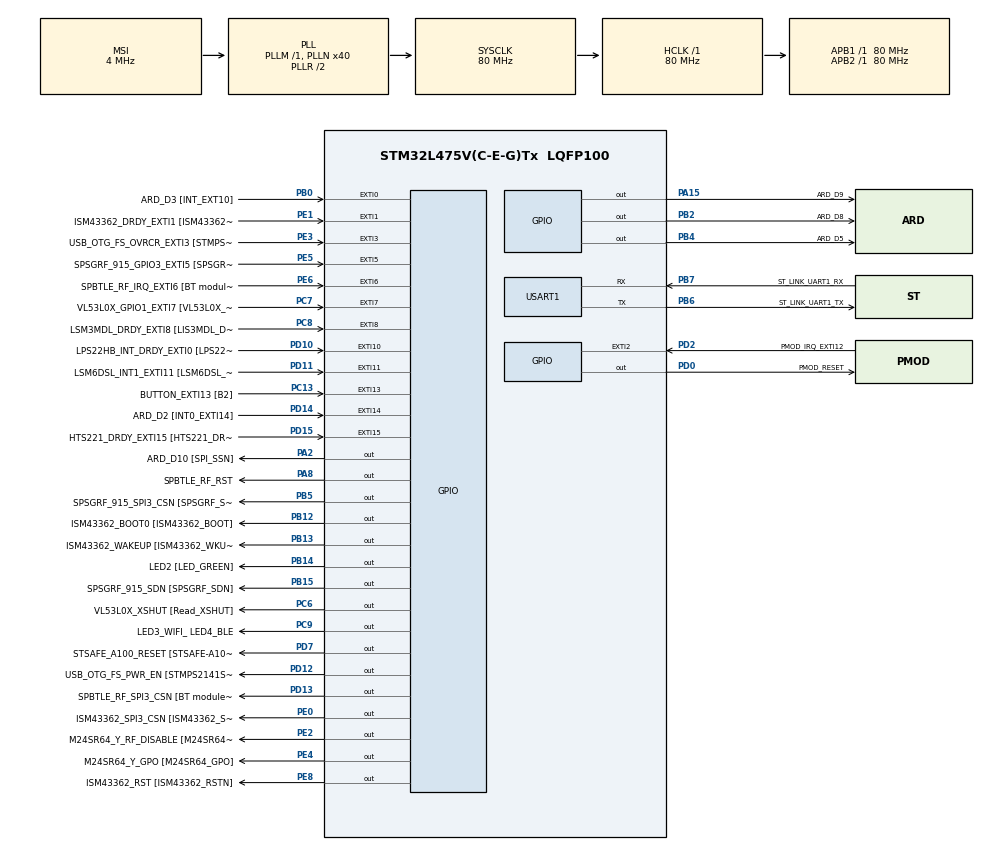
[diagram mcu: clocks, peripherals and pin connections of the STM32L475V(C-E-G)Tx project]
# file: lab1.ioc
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FREERTOS.Tasks01=Thread1,0,128,Thread1Func,Default,NULL,Dynamic,NULL,NULL;Thread2,0,128,Thread2Func,Default,NULL,Dynamic,NULL,NULL
Mcu.Family=STM32L4
Mcu.Name=STM32L475V(C-E-G)Tx
Mcu.Package=LQFP100
Mcu.UserConstants=mainDELAY_LOOP_COUNT,0xffffff
NVIC.EXTI15_10_IRQn=true\:5\:0\:false\:false\:true\:true\:true\:true
NVIC.EXTI9_5_IRQn=true\:5\:0\:false\:false\:true\:true\:true\:true
NVIC.PriorityGroup=NVIC_PRIORITYGROUP_4
PA0.GPIO_Label=ARD_D1 [UART4_TX]
PA0.Signal=UART4_TX
PA1.GPIO_Label=ARD_D0 [UART4_RX]
PA1.Signal=UART4_RX
PA10.GPIO_Label=USB_OTG_FS_ID
PA10.Signal=USB_OTG_FS_ID
PA11.GPIO_Label=USB_OTG_FS_DM
PA11.Signal=USB_OTG_FS_DM
PA12.GPIO_Label=USB_OTG_FS_DP
PA12.Signal=USB_OTG_FS_DP
PA13\ (JTMS-SWDIO).GPIO_Label=SYS_JTMS_SWDIO
PA13\ (JTMS-SWDIO).Mode=Serial_Wire
PA13\ (JTMS-SWDIO).Signal=SYS_JTMS-SWDIO
PA14\ (JTCK-SWCLK).GPIO_Label=SYS_JTCK_SWCLK
PA14\ (JTCK-SWCLK).Mode=Serial_Wire
PA14\ (JTCK-SWCLK).Signal=SYS_JTCK-SWCLK
PA15\ (JTDI).GPIO_Label=ARD_D9
PA15\ (JTDI).Signal=GPIO_Output
PA2.GPIO_Label=ARD_D10 [SPI_SSN]
PA2.Signal=GPIO_Output
PA3.GPIO_Label=ARD_D4
PA3.Signal=S_TIM2_CH4
PA4.GPIO_Label=ARD_D7
PA4.Signal=ADCx_IN9
PA5.GPIO_Label=ARD_D13 [SPI1_SCK]
PA5.Signal=SPI1_SCK
PA6.GPIO_Label=ARD_D12 [SPI1_MISO]
PA6.Signal=SPI1_MISO
PA7.GPIO_Label=ARD_D11 [SPI1_MOSI]
PA7.Signal=SPI1_MOSI
PA8.GPIO_Label=SPBTLE_RF_RST
PA8.Signal=GPIO_Output
PA9.GPIO_Label=USB_OTG_FS_VBUS [STMPS2141STR_OUT]
PA9.Signal=USB_OTG_FS_VBUS
PB0.GPIO_Label=ARD_D3 [INT_EXT10]
PB0.Signal=GPXTI0
PB1.GPIO_Label=ARD_D6 [ADC1_IN6]
PB1.Signal=ADCx_IN16
PB10.GPIO_Label=INTERNAL_I2C2_SCL [VL53L0X_SCL]
PB10.Signal=I2C2_SCL
PB11.GPIO_Label=INTERNAL_I2C2_SDA [VL53L0X_SDA]
PB11.Signal=I2C2_SDA
PB12.GPIO_Label=ISM43362_BOOT0 [ISM43362_BOOT]
PB12.Signal=GPIO_Output
PB13.GPIO_Label=ISM43362_WAKEUP [ISM43362_WKUP]
PB13.Signal=GPIO_Output
PB14.GPIO_Label=LED2 [LED_GREEN]
PB14.Signal=GPIO_Output
PB15.GPIO_Label=SPSGRF_915_SDN [SPSGRF_SDN]
PB15.Signal=GPIO_Output
PB2.GPIO_Label=ARD_D8
PB2.Signal=GPIO_Output
PB3\ (JTDO-TRACESWO).GPIO_Label=SYS_JTD0_SWO
PB3\ (JTDO-TRACESWO).Signal=SYS_JTDO-SWO
PB4\ (NJTRST).GPIO_Label=ARD_D5
PB4\ (NJTRST).Signal=GPIO_Output
PB5.GPIO_Label=SPSGRF_915_SPI3_CSN [SPSGRF_SPI_CS]
PB5.PinState=GPIO_PIN_SET
PB5.Signal=GPIO_Output
PB6.GPIO_Label=ST_LINK_UART1_TX
PB6.Mode=Asynchronous
PB6.Signal=USART1_TX
PB7.GPIO_Label=ST_LINK_UART1_RX
PB7.Mode=Asynchronous
PB7.Signal=USART1_RX
PB8.GPIO_Label=ARD_D15 [I2C1_SCL]
PB8.Signal=I2C1_SCL
PB9.GPIO_Label=ARD_D14 [I2C1_SDA]
PB9.Signal=I2C1_SDA
PC0.GPIO_Label=ARD_A5 [ADC]
PC0.Signal=ADCx_IN1
PC1.GPIO_Label=ARD_A4 [ADC]
PC1.Signal=ADCx_IN2
PC10.GPIO_Label=INTERNAL_SPI3_SCK [BT module_SPI_SCLK] [ISM43362_SCK]
PC10.Signal=SPI3_SCK
PC11.GPIO_Label=INTERNAL_SPI3_MISO [BT module_SPI_MISO] [ISM43362_MISO]
PC11.Signal=SPI3_MISO
PC12.GPIO_Label=INTERNAL_SPI3_MOSI [BT module_SPI_MOSI] [ISM43362_MOSI]
PC12.Signal=SPI3_MOSI
PC13.GPIO_Label=BUTTON_EXTI13 [B2]
PC13.GPIO_ModeDefaultEXTI=GPIO_MODE_IT_FALLING
PC13.Signal=GPXTI13
PC14-OSC32_IN\ (PC14).Signal=RCC_OSC32_IN
PC15-OSC32_OUT\ (PC15).Signal=RCC_OSC32_OUT
PC2.GPIO_Label=ARD_A3 [ADC]
PC2.Signal=ADCx_IN3
PC3.GPIO_Label=ARD_A2 [ADC]
PC3.Signal=ADCx_IN4
PC4.GPIO_Label=ARD_A1 [ADC]
PC4.Signal=ADCx_IN13
PC5.GPIO_Label=ARD_A0 [ADC]
PC5.Signal=ADCx_IN14
PC6.GPIO_Label=VL53L0X_XSHUT [Read_XSHUT]
PC6.Signal=GPIO_Output
PC7.GPIO_Label=VL53L0X_GPIO1_EXTI7 [VL53L0X_GPIO1]
PC7.Signal=GPXTI7
PC8.GPIO_Label=LSM3MDL_DRDY_EXTI8 [LIS3MDL_DRDY]
PC8.Signal=GPXTI8
PC9.GPIO_Label=LED3_WIFI_ LED4_BLE
PC9.Signal=GPIO_Output
PD0.GPIO_Label=PMOD_RESET
PD0.Signal=GPIO_Output
PD1.GPIO_Label=PMOD_SPI2_SCK
PD1.Signal=SPI2_SCK
PD10.GPIO_Label=LPS22HB_INT_DRDY_EXTI0 [LPS22HB_INT_DRDY] 
PD10.Signal=GPXTI10
PD11.GPIO_Label=LSM6DSL_INT1_EXTI11 [LSM6DSL_INT1]
PD11.Signal=GPXTI11
PD12.GPIO_Label=USB_OTG_FS_PWR_EN [STMPS2141STR_EN]
PD12.Signal=GPIO_Output
PD13.GPIO_Label=SPBTLE_RF_SPI3_CSN [BT module_SPI_CS]
PD13.PinState=GPIO_PIN_SET
PD13.Signal=GPIO_Output
PD14.GPIO_Label=ARD_D2 [INT0_EXTI14]
PD14.Signal=GPXTI14
PD15.GPIO_Label=HTS221_DRDY_EXTI15 [HTS221_DRDY]
PD15.Signal=GPXTI15
PD2.GPIO_Label=PMOD_IRQ_EXTI12
PD2.Signal=GPXTI2
PD3.GPIO_Label=PMOD_UART2_CTS
PD3.Signal=USART2_CTS
PD4.GPIO_Label=PMOD_UART2_RTS
PD4.Signal=USART2_RTS
PD5.GPIO_Label=PMOD_UART2_TX
PD5.Signal=USART2_TX
PD6.GPIO_Label=PMOD_UART2_RX
PD6.Signal=USART2_RX
PD7.GPIO_Label=STSAFE_A100_RESET [STSAFE-A100_RESET]
PD7.Signal=GPIO_Output
PD8.GPIO_Label=INTERNAL_UART3_TX [ISM43362_RX]
PD8.Signal=USART3_TX
PD9.GPIO_Label=INTERNAL_UART3_RX [ISM43362_TX]
PD9.Signal=USART3_RX
PE0.GPIO_Label=ISM43362_SPI3_CSN [ISM43362_SSN]
PE0.PinState=GPIO_PIN_SET
PE0.Signal=GPIO_Output
PE1.GPIO_Label=ISM43362_DRDY_EXTI1 [ISM43362_DATARDY]
PE1.Signal=GPXTI1
PE10.GPIO_Label=QUADSPI_CLK [MX25R6435F_SCLK]
PE10.Signal=QUADSPI_CLK
PE11.GPIO_Label=QUADSPI_NCS [MX25R6435F_SCLK]
PE11.Signal=QUADSPI_NCS
PE12.GPIO_Label=OQUADSPI_BK1_IO0 [MX25R6435F_IO0]
PE12.Signal=QUADSPI_BK1_IO0
PE13.GPIO_Label=QUADSPI_BK1_IO1 [MX25R6435F_IO1]
PE13.Signal=QUADSPI_BK1_IO1
PE14.GPIO_Label=QUAD_SPI_BK1_IO2 [MX25R6435F_IO2]
PE14.Signal=QUADSPI_BK1_IO2
PE15.GPIO_Label=QUAD_SPI_BK1_IO3 [MX25R6435F_IO3]
PE15.Signal=QUADSPI_BK1_IO3
PE2.GPIO_Label=M24SR64_Y_RF_DISABLE [M24SR64_RFDIS]
PE2.Signal=GPIO_Output
PE3.GPIO_Label=USB_OTG_FS_OVRCR_EXTI3 [STMPS2141STR_FAULT]
PE3.Signal=GPXTI3
PE4.GPIO_Label=M24SR64_Y_GPO [M24SR64_GPO]
PE4.Signal=GPIO_Output
PE5.GPIO_Label=SPSGRF_915_GPIO3_EXTI5 [SPSGRF_GPIO_3]
PE5.Signal=GPXTI5
PE6.GPIO_Label=SPBTLE_RF_IRQ_EXTI6 [BT module_SPI_IRQ]
PE6.Signal=GPXTI6
PE7.GPIO_Label=DFSDM1_DATIN2 [MP34DT01_DOUT]
PE7.Signal=S_DATAIN2DFSDM1
PE8.GPIO_Label=ISM43362_RST [ISM43362_RSTN]
PE8.Signal=GPIO_Output
PE9.GPIO_Label=DFSDM1_CKOUT [MP34DT01_CLK]
PE9.Signal=S_CKOUTDFSDM1
ProjectManager.HeapSize=0x200
ProjectManager.StackSize=0x400
ProjectManager.TargetToolchain=MDK-ARM V5.27
RCC.ADCFreq_Value=48000000
RCC.AHBFreq_Value=80000000
RCC.APB1Freq_Value=80000000
RCC.APB1TimFreq_Value=80000000
RCC.APB2Freq_Value=80000000
RCC.APB2TimFreq_Value=80000000
RCC.CortexFreq_Value=80000000
RCC.HCLKFreq_Value=80000000
RCC.HSE_VALUE=8000000
RCC.HSI_VALUE=16000000
RCC.LSE_VALUE=32768
RCC.MSI_VALUE=4000000
RCC.PLLN=40
RCC.PLLSAI1N=24
RCC.SYSCLKFreq_VALUE=80000000
RCC.SYSCLKSource=RCC_SYSCLKSOURCE_PLLCLK
RCC.USBFreq_Value=48000000
RCC.VCOOutputFreq_Value=160000000
SH.ADCx_IN1.0=ADC1_IN1
SH.ADCx_IN13.0=ADC1_IN13
SH.ADCx_IN14.0=ADC1_IN14
SH.ADCx_IN16.0=ADC1_IN16
SH.ADCx_IN2.0=ADC1_IN2
SH.ADCx_IN3.0=ADC1_IN3
SH.ADCx_IN4.0=ADC1_IN4
SH.ADCx_IN9.0=ADC1_IN9
SH.S_CKOUTDFSDM1.0=DFSDM1_CKOUT
SH.S_DATAIN2DFSDM1.0=DFSDM1_DATIN2
SH.S_TIM2_CH4.0=TIM2_CH4
USART1.VirtualMode-Asynchronous=VM_ASYNC
VP_FREERTOS_VS_CMSIS_V1.Mode=CMSIS_V1
board=B-L475E-IOT01A1

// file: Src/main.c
/* USER CODE BEGIN Header */
/**
  ******************************************************************************
  * @file           : main.c
  * @brief          : Main program body
  ******************************************************************************
  * @attention
  *
  * <h2><center>&copy; Copyright (c) 2020 STMicroelectronics.
  * All rights reserved.</center></h2>
  *
  * This software component is licensed by ST under Ultimate Liberty license
  * SLA0044, the "License"; You may not use this file except in compliance with
  * the License. You may obtain a copy of the License at:
  *                             www.st.com/SLA0044
  *
  ******************************************************************************
  */
/* USER CODE END Header */

#include "main.h"
#include "cmsis_os.h"

/* USER CODE BEGIN Includes */
#include "stdio.h"
/* USER CODE END Includes */

UART_HandleTypeDef huart1;

osThreadId Thread1Handle;
osThreadId Thread2Handle;

void SystemClock_Config(void);
static void MX_GPIO_Init(void);
static void MX_USART1_UART_Init(void);
void Thread1Func(void const * argument);
void Thread2Func(void const * argument);

/* USER CODE BEGIN PFP */
#ifdef __GNUC__
#define PUTCHAR_PROTOTYPE int __io_putchar(int ch)
#else
#define PUTCHAR_PROTOTYPE int fputc(int ch, FILE *f)
#endif /* __GNUC__ */

/* USER CODE END PFP */

/* USER CODE BEGIN 0 */
PUTCHAR_PROTOTYPE
{
  /* e.g. write a character to the USART1 and Loop until the end of transmission */
  HAL_UART_Transmit(&huart1, (uint8_t *)&ch, 1, 0xFFFF);

  return ch;
}
/* USER CODE END 0 */

int main(void)
{

  /* MCU Configuration--------------------------------------------------------*/

  /* Reset of all peripherals, Initializes the Flash interface and the Systick. */
  HAL_Init();

  /* Configure the system clock */
  SystemClock_Config();

  /* Initialize all configured peripherals */
  MX_GPIO_Init();
  MX_USART1_UART_Init();
  /* USER CODE BEGIN 2 */
	printf("\n\rFreeRTOS Lab1\n\r");
  /* USER CODE END 2 */

  /* Create the thread(s) */
  /* definition and creation of Thread1 */
  osThreadDef(Thread1, Thread1Func, osPriorityNormal, 0, 128);
  Thread1Handle = osThreadCreate(osThread(Thread1), NULL);

  /* Start scheduler using CMSIS abstraction*/
  osKernelStart();

  /* We should never get here as control is now taken by the scheduler */

  /* Infinite loop */
  while (1)
  {

  }
}

void SystemClock_Config(void)
{
  RCC_OscInitTypeDef RCC_OscInitStruct = {0};
  RCC_ClkInitTypeDef RCC_ClkInitStruct = {0};
  RCC_PeriphCLKInitTypeDef PeriphClkInit = {0};

  /** Initializes the CPU, AHB and APB busses clocks
  */
  RCC_OscInitStruct.OscillatorType = RCC_OSCILLATORTYPE_MSI;
  RCC_OscInitStruct.MSIState = RCC_MSI_ON;
  RCC_OscInitStruct.MSICalibrationValue = 0;
  RCC_OscInitStruct.MSIClockRange = RCC_MSIRANGE_6;
  RCC_OscInitStruct.PLL.PLLState = RCC_PLL_ON;
  RCC_OscInitStruct.PLL.PLLSource = RCC_PLLSOURCE_MSI;
  RCC_OscInitStruct.PLL.PLLM = 1;
  RCC_OscInitStruct.PLL.PLLN = 40;
  RCC_OscInitStruct.PLL.PLLP = RCC_PLLP_DIV7;
  RCC_OscInitStruct.PLL.PLLQ = RCC_PLLQ_DIV2;
  RCC_OscInitStruct.PLL.PLLR = RCC_PLLR_DIV2;
  if (HAL_RCC_OscConfig(&RCC_OscInitStruct) != HAL_OK)
  {
    Error_Handler();
  }
  /** Initializes the CPU, AHB and APB busses clocks
  */
  RCC_ClkInitStruct.ClockType = RCC_CLOCKTYPE_HCLK|RCC_CLOCKTYPE_SYSCLK
                              |RCC_CLOCKTYPE_PCLK1|RCC_CLOCKTYPE_PCLK2;
  RCC_ClkInitStruct.SYSCLKSource = RCC_SYSCLKSOURCE_PLLCLK;
  RCC_ClkInitStruct.AHBCLKDivider = RCC_SYSCLK_DIV1;
  RCC_ClkInitStruct.APB1CLKDivider = RCC_HCLK_DIV1;
  RCC_ClkInitStruct.APB2CLKDivider = RCC_HCLK_DIV1;

  if (HAL_RCC_ClockConfig(&RCC_ClkInitStruct, FLASH_LATENCY_4) != HAL_OK)
  {
    Error_Handler();
  }
  PeriphClkInit.PeriphClockSelection = RCC_PERIPHCLK_USART1;
  PeriphClkInit.Usart1ClockSelection = RCC_USART1CLKSOURCE_PCLK2;
  if (HAL_RCCEx_PeriphCLKConfig(&PeriphClkInit) != HAL_OK)
  {
    Error_Handler();
  }
  /** Configure the main internal regulator output voltage
  */
  if (HAL_PWREx_ControlVoltageScaling(PWR_REGULATOR_VOLTAGE_SCALE1) != HAL_OK)
  {
    Error_Handler();
  }
}

static void MX_USART1_UART_Init(void)
{

  huart1.Instance = USART1;
  huart1.Init.BaudRate = 115200;
  huart1.Init.WordLength = UART_WORDLENGTH_8B;
  huart1.Init.StopBits = UART_STOPBITS_1;
  huart1.Init.Parity = UART_PARITY_NONE;
  huart1.Init.Mode = UART_MODE_TX_RX;
  huart1.Init.HwFlowCtl = UART_HWCONTROL_NONE;
  huart1.Init.OverSampling = UART_OVERSAMPLING_16;
  huart1.Init.OneBitSampling = UART_ONE_BIT_SAMPLE_DISABLE;
  huart1.AdvancedInit.AdvFeatureInit = UART_ADVFEATURE_NO_INIT;
  if (HAL_UART_Init(&huart1) != HAL_OK)
  {
    Error_Handler();
  }

}

static void MX_GPIO_Init(void)
{
  GPIO_InitTypeDef GPIO_InitStruct = {0};

  /* GPIO Ports Clock Enable */
  __HAL_RCC_GPIOE_CLK_ENABLE();
  __HAL_RCC_GPIOC_CLK_ENABLE();
  __HAL_RCC_GPIOH_CLK_ENABLE();
  __HAL_RCC_GPIOA_CLK_ENABLE();
  __HAL_RCC_GPIOB_CLK_ENABLE();
  __HAL_RCC_GPIOD_CLK_ENABLE();

  /*Configure GPIO pin Output Level */
  HAL_GPIO_WritePin(GPIOE, M24SR64_Y_RF_DISABLE_Pin|M24SR64_Y_GPO_Pin|ISM43362_RST_Pin, GPIO_PIN_RESET);

  /*Configure GPIO pin Output Level */
  HAL_GPIO_WritePin(GPIOA, ARD_D10_Pin|SPBTLE_RF_RST_Pin|ARD_D9_Pin, GPIO_PIN_RESET);

  /*Configure GPIO pin Output Level */
  HAL_GPIO_WritePin(GPIOB, ARD_D8_Pin|ISM43362_BOOT0_Pin|ISM43362_WAKEUP_Pin|LED2_Pin
                          |SPSGRF_915_SDN_Pin|ARD_D5_Pin, GPIO_PIN_RESET);

  /*Configure GPIO pin Output Level */
  HAL_GPIO_WritePin(GPIOD, USB_OTG_FS_PWR_EN_Pin|PMOD_RESET_Pin|STSAFE_A100_RESET_Pin, GPIO_PIN_RESET);

  /*Configure GPIO pin Output Level */
  HAL_GPIO_WritePin(SPBTLE_RF_SPI3_CSN_GPIO_Port, SPBTLE_RF_SPI3_CSN_Pin, GPIO_PIN_SET);

  /*Configure GPIO pin Output Level */
  HAL_GPIO_WritePin(GPIOC, VL53L0X_XSHUT_Pin|LED3_WIFI__LED4_BLE_Pin, GPIO_PIN_RESET);

  /*Configure GPIO pin Output Level */
  HAL_GPIO_WritePin(SPSGRF_915_SPI3_CSN_GPIO_Port, SPSGRF_915_SPI3_CSN_Pin, GPIO_PIN_SET);

  /*Configure GPIO pin Output Level */
  HAL_GPIO_WritePin(ISM43362_SPI3_CSN_GPIO_Port, ISM43362_SPI3_CSN_Pin, GPIO_PIN_SET);

  /*Configure GPIO pins : M24SR64_Y_RF_DISABLE_Pin M24SR64_Y_GPO_Pin ISM43362_RST_Pin ISM43362_SPI3_CSN_Pin */
  GPIO_InitStruct.Pin = M24SR64_Y_RF_DISABLE_Pin|M24SR64_Y_GPO_Pin|ISM43362_RST_Pin|ISM43362_SPI3_CSN_Pin;
  GPIO_InitStruct.Mode = GPIO_MODE_OUTPUT_PP;
  GPIO_InitStruct.Pull = GPIO_NOPULL;
  GPIO_InitStruct.Speed = GPIO_SPEED_FREQ_LOW;
  HAL_GPIO_Init(GPIOE, &GPIO_InitStruct);

  /*Configure GPIO pins : USB_OTG_FS_OVRCR_EXTI3_Pin SPSGRF_915_GPIO3_EXTI5_Pin SPBTLE_RF_IRQ_EXTI6_Pin ISM43362_DRDY_EXTI1_Pin */
  GPIO_InitStruct.Pin = USB_OTG_FS_OVRCR_EXTI3_Pin|SPSGRF_915_GPIO3_EXTI5_Pin|SPBTLE_RF_IRQ_EXTI6_Pin|ISM43362_DRDY_EXTI1_Pin;
  GPIO_InitStruct.Mode = GPIO_MODE_IT_RISING;
  GPIO_InitStruct.Pull = GPIO_NOPULL;
  HAL_GPIO_Init(GPIOE, &GPIO_InitStruct);

  /*Configure GPIO pin : BUTTON_EXTI13_Pin */
  GPIO_InitStruct.Pin = BUTTON_EXTI13_Pin;
  GPIO_InitStruct.Mode = GPIO_MODE_IT_FALLING;
  GPIO_InitStruct.Pull = GPIO_NOPULL;
  HAL_GPIO_Init(BUTTON_EXTI13_GPIO_Port, &GPIO_InitStruct);

  /*Configure GPIO pins : PH0 PH1 */
  GPIO_InitStruct.Pin = GPIO_PIN_0|GPIO_PIN_1;
  GPIO_InitStruct.Mode = GPIO_MODE_ANALOG;
  GPIO_InitStruct.Pull = GPIO_NOPULL;
  HAL_GPIO_Init(GPIOH, &GPIO_InitStruct);

  /*Configure GPIO pins : ARD_A5_Pin ARD_A4_Pin ARD_A3_Pin ARD_A2_Pin
                           ARD_A1_Pin ARD_A0_Pin */
  GPIO_InitStruct.Pin = ARD_A5_Pin|ARD_A4_Pin|ARD_A3_Pin|ARD_A2_Pin
                          |ARD_A1_Pin|ARD_A0_Pin;
  GPIO_InitStruct.Mode = GPIO_MODE_ANALOG_ADC_CONTROL;
  GPIO_InitStruct.Pull = GPIO_NOPULL;
  HAL_GPIO_Init(GPIOC, &GPIO_InitStruct);

  /*Configure GPIO pins : ARD_D1_Pin ARD_D0_Pin */
  GPIO_InitStruct.Pin = ARD_D1_Pin|ARD_D0_Pin;
  GPIO_InitStruct.Mode = GPIO_MODE_AF_PP;
  GPIO_InitStruct.Pull = GPIO_NOPULL;
  GPIO_InitStruct.Speed = GPIO_SPEED_FREQ_VERY_HIGH;
  GPIO_InitStruct.Alternate = GPIO_AF8_UART4;
  HAL_GPIO_Init(GPIOA, &GPIO_InitStruct);

  /*Configure GPIO pins : ARD_D10_Pin SPBTLE_RF_RST_Pin ARD_D9_Pin */
  GPIO_InitStruct.Pin = ARD_D10_Pin|SPBTLE_RF_RST_Pin|ARD_D9_Pin;
  GPIO_InitStruct.Mode = GPIO_MODE_OUTPUT_PP;
  GPIO_InitStruct.Pull = GPIO_NOPULL;
  GPIO_InitStruct.Speed = GPIO_SPEED_FREQ_LOW;
  HAL_GPIO_Init(GPIOA, &GPIO_InitStruct);

  /*Configure GPIO pin : ARD_D4_Pin */
  GPIO_InitStruct.Pin = ARD_D4_Pin;
  GPIO_InitStruct.Mode = GPIO_MODE_AF_PP;
  GPIO_InitStruct.Pull = GPIO_NOPULL;
  GPIO_InitStruct.Speed = GPIO_SPEED_FREQ_LOW;
  GPIO_InitStruct.Alternate = GPIO_AF1_TIM2;
  HAL_GPIO_Init(ARD_D4_GPIO_Port, &GPIO_InitStruct);

  /*Configure GPIO pin : ARD_D7_Pin */
  GPIO_InitStruct.Pin = ARD_D7_Pin;
  GPIO_InitStruct.Mode = GPIO_MODE_ANALOG_ADC_CONTROL;
  GPIO_InitStruct.Pull = GPIO_NOPULL;
  HAL_GPIO_Init(ARD_D7_GPIO_Port, &GPIO_InitStruct);

  /*Configure GPIO pins : ARD_D13_Pin ARD_D12_Pin ARD_D11_Pin */
  GPIO_InitStruct.Pin = ARD_D13_Pin|ARD_D12_Pin|ARD_D11_Pin;
  GPIO_InitStruct.Mode = GPIO_MODE_AF_PP;
  GPIO_InitStruct.Pull = GPIO_NOPULL;
  GPIO_InitStruct.Speed = GPIO_SPEED_FREQ_VERY_HIGH;
  GPIO_InitStruct.Alternate = GPIO_AF5_SPI1;
  HAL_GPIO_Init(GPIOA, &GPIO_InitStruct);

  /*Configure GPIO pin : ARD_D3_Pin */
  GPIO_InitStruct.Pin = ARD_D3_Pin;
  GPIO_InitStruct.Mode = GPIO_MODE_IT_RISING;
  GPIO_InitStruct.Pull = GPIO_NOPULL;
  HAL_GPIO_Init(ARD_D3_GPIO_Port, &GPIO_InitStruct);

  /*Configure GPIO pin : ARD_D6_Pin */
  GPIO_InitStruct.Pin = ARD_D6_Pin;
  GPIO_InitStruct.Mode = GPIO_MODE_ANALOG_ADC_CONTROL;
  GPIO_InitStruct.Pull = GPIO_NOPULL;
  HAL_GPIO_Init(ARD_D6_GPIO_Port, &GPIO_InitStruct);

  /*Configure GPIO pins : ARD_D8_Pin ISM43362_BOOT0_Pin ISM43362_WAKEUP_Pin LED2_Pin
                           SPSGRF_915_SDN_Pin ARD_D5_Pin SPSGRF_915_SPI3_CSN_Pin */
  GPIO_InitStruct.Pin = ARD_D8_Pin|ISM43362_BOOT0_Pin|ISM43362_WAKEUP_Pin|LED2_Pin
                          |SPSGRF_915_SDN_Pin|ARD_D5_Pin|SPSGRF_915_SPI3_CSN_Pin;
  GPIO_InitStruct.Mode = GPIO_MODE_OUTPUT_PP;
  GPIO_InitStruct.Pull = GPIO_NOPULL;
  GPIO_InitStruct.Speed = GPIO_SPEED_FREQ_LOW;
  HAL_GPIO_Init(GPIOB, &GPIO_InitStruct);

  /*Configure GPIO pins : DFSDM1_DATIN2_Pin DFSDM1_CKOUT_Pin */
  GPIO_InitStruct.Pin = DFSDM1_DATIN2_Pin|DFSDM1_CKOUT_Pin;
  GPIO_InitStruct.Mode = GPIO_MODE_AF_PP;
  GPIO_InitStruct.Pull = GPIO_NOPULL;
  GPIO_InitStruct.Speed = GPIO_SPEED_FREQ_LOW;
  GPIO_InitStruct.Alternate = GPIO_AF6_DFSDM1;
  HAL_GPIO_Init(GPIOE, &GPIO_InitStruct);

  /*Configure GPIO pins : QUADSPI_CLK_Pin QUADSPI_NCS_Pin OQUADSPI_BK1_IO0_Pin QUADSPI_BK1_IO1_Pin
                           QUAD_SPI_BK1_IO2_Pin QUAD_SPI_BK1_IO3_Pin */
  GPIO_InitStruct.Pin = QUADSPI_CLK_Pin|QUADSPI_NCS_Pin|OQUADSPI_BK1_IO0_Pin|QUADSPI_BK1_IO1_Pin
                          |QUAD_SPI_BK1_IO2_Pin|QUAD_SPI_BK1_IO3_Pin;
  GPIO_InitStruct.Mode = GPIO_MODE_AF_PP;
  GPIO_InitStruct.Pull = GPIO_NOPULL;
  GPIO_InitStruct.Speed = GPIO_SPEED_FREQ_VERY_HIGH;
  GPIO_InitStruct.Alternate = GPIO_AF10_QUADSPI;
  HAL_GPIO_Init(GPIOE, &GPIO_InitStruct);

  /*Configure GPIO pins : INTERNAL_I2C2_SCL_Pin INTERNAL_I2C2_SDA_Pin */
  GPIO_InitStruct.Pin = INTERNAL_I2C2_SCL_Pin|INTERNAL_I2C2_SDA_Pin;
  GPIO_InitStruct.Mode = GPIO_MODE_AF_OD;
  GPIO_InitStruct.Pull = GPIO_PULLUP;
  GPIO_InitStruct.Speed = GPIO_SPEED_FREQ_VERY_HIGH;
  GPIO_InitStruct.Alternate = GPIO_AF4_I2C2;
  HAL_GPIO_Init(GPIOB, &GPIO_InitStruct);

  /*Configure GPIO pins : INTERNAL_UART3_TX_Pin INTERNAL_UART3_RX_Pin */
  GPIO_InitStruct.Pin = INTERNAL_UART3_TX_Pin|INTERNAL_UART3_RX_Pin;
  GPIO_InitStruct.Mode = GPIO_MODE_AF_PP;
  GPIO_InitStruct.Pull = GPIO_NOPULL;
  GPIO_InitStruct.Speed = GPIO_SPEED_FREQ_VERY_HIGH;
  GPIO_InitStruct.Alternate = GPIO_AF7_USART3;
  HAL_GPIO_Init(GPIOD, &GPIO_InitStruct);

  /*Configure GPIO pins : LPS22HB_INT_DRDY_EXTI0_Pin LSM6DSL_INT1_EXTI11_Pin ARD_D2_Pin HTS221_DRDY_EXTI15_Pin
                           PMOD_IRQ_EXTI12_Pin */
  GPIO_InitStruct.Pin = LPS22HB_INT_DRDY_EXTI0_Pin|LSM6DSL_INT1_EXTI11_Pin|ARD_D2_Pin|HTS221_DRDY_EXTI15_Pin
                          |PMOD_IRQ_EXTI12_Pin;
  GPIO_InitStruct.Mode = GPIO_MODE_IT_RISING;
  GPIO_InitStruct.Pull = GPIO_NOPULL;
  HAL_GPIO_Init(GPIOD, &GPIO_InitStruct);

  /*Configure GPIO pins : USB_OTG_FS_PWR_EN_Pin SPBTLE_RF_SPI3_CSN_Pin PMOD_RESET_Pin STSAFE_A100_RESET_Pin */
  GPIO_InitStruct.Pin = USB_OTG_FS_PWR_EN_Pin|SPBTLE_RF_SPI3_CSN_Pin|PMOD_RESET_Pin|STSAFE_A100_RESET_Pin;
  GPIO_InitStruct.Mode = GPIO_MODE_OUTPUT_PP;
  GPIO_InitStruct.Pull = GPIO_NOPULL;
  GPIO_InitStruct.Speed = GPIO_SPEED_FREQ_LOW;
  HAL_GPIO_Init(GPIOD, &GPIO_InitStruct);

  /*Configure GPIO pins : VL53L0X_XSHUT_Pin LED3_WIFI__LED4_BLE_Pin */
  GPIO_InitStruct.Pin = VL53L0X_XSHUT_Pin|LED3_WIFI__LED4_BLE_Pin;
  GPIO_InitStruct.Mode = GPIO_MODE_OUTPUT_PP;
  GPIO_InitStruct.Pull = GPIO_NOPULL;
  GPIO_InitStruct.Speed = GPIO_SPEED_FREQ_LOW;
  HAL_GPIO_Init(GPIOC, &GPIO_InitStruct);

  /*Configure GPIO pins : VL53L0X_GPIO1_EXTI7_Pin LSM3MDL_DRDY_EXTI8_Pin */
  GPIO_InitStruct.Pin = VL53L0X_GPIO1_EXTI7_Pin|LSM3MDL_DRDY_EXTI8_Pin;
  GPIO_InitStruct.Mode = GPIO_MODE_IT_RISING;
  GPIO_InitStruct.Pull = GPIO_NOPULL;
  HAL_GPIO_Init(GPIOC, &GPIO_InitStruct);

  /*Configure GPIO pin : USB_OTG_FS_VBUS_Pin */
  GPIO_InitStruct.Pin = USB_OTG_FS_VBUS_Pin;
  GPIO_InitStruct.Mode = GPIO_MODE_INPUT;
  GPIO_InitStruct.Pull = GPIO_NOPULL;
  HAL_GPIO_Init(USB_OTG_FS_VBUS_GPIO_Port, &GPIO_InitStruct);

  /*Configure GPIO pins : USB_OTG_FS_ID_Pin USB_OTG_FS_DM_Pin USB_OTG_FS_DP_Pin */
  GPIO_InitStruct.Pin = USB_OTG_FS_ID_Pin|USB_OTG_FS_DM_Pin|USB_OTG_FS_DP_Pin;
  GPIO_InitStruct.Mode = GPIO_MODE_AF_PP;
  GPIO_InitStruct.Pull = GPIO_NOPULL;
  GPIO_InitStruct.Speed = GPIO_SPEED_FREQ_VERY_HIGH;
  GPIO_InitStruct.Alternate = GPIO_AF10_OTG_FS;
  HAL_GPIO_Init(GPIOA, &GPIO_InitStruct);

  /*Configure GPIO pins : INTERNAL_SPI3_SCK_Pin INTERNAL_SPI3_MISO_Pin INTERNAL_SPI3_MOSI_Pin */
  GPIO_InitStruct.Pin = INTERNAL_SPI3_SCK_Pin|INTERNAL_SPI3_MISO_Pin|INTERNAL_SPI3_MOSI_Pin;
  GPIO_InitStruct.Mode = GPIO_MODE_AF_PP;
  GPIO_InitStruct.Pull = GPIO_NOPULL;
  GPIO_InitStruct.Speed = GPIO_SPEED_FREQ_VERY_HIGH;
  GPIO_InitStruct.Alternate = GPIO_AF6_SPI3;
  HAL_GPIO_Init(GPIOC, &GPIO_InitStruct);

  /*Configure GPIO pin : PMOD_SPI2_SCK_Pin */
  GPIO_InitStruct.Pin = PMOD_SPI2_SCK_Pin;
  GPIO_InitStruct.Mode = GPIO_MODE_AF_PP;
  GPIO_InitStruct.Pull = GPIO_NOPULL;
  GPIO_InitStruct.Speed = GPIO_SPEED_FREQ_VERY_HIGH;
  GPIO_InitStruct.Alternate = GPIO_AF5_SPI2;
  HAL_GPIO_Init(PMOD_SPI2_SCK_GPIO_Port, &GPIO_InitStruct);

  /*Configure GPIO pins : PMOD_UART2_CTS_Pin PMOD_UART2_RTS_Pin PMOD_UART2_TX_Pin PMOD_UART2_RX_Pin */
  GPIO_InitStruct.Pin = PMOD_UART2_CTS_Pin|PMOD_UART2_RTS_Pin|PMOD_UART2_TX_Pin|PMOD_UART2_RX_Pin;
  GPIO_InitStruct.Mode = GPIO_MODE_AF_PP;
  GPIO_InitStruct.Pull = GPIO_NOPULL;
  GPIO_InitStruct.Speed = GPIO_SPEED_FREQ_VERY_HIGH;
  GPIO_InitStruct.Alternate = GPIO_AF7_USART2;
  HAL_GPIO_Init(GPIOD, &GPIO_InitStruct);

  /*Configure GPIO pins : ARD_D15_Pin ARD_D14_Pin */
  GPIO_InitStruct.Pin = ARD_D15_Pin|ARD_D14_Pin;
  GPIO_InitStruct.Mode = GPIO_MODE_AF_OD;
  GPIO_InitStruct.Pull = GPIO_PULLUP;
  GPIO_InitStruct.Speed = GPIO_SPEED_FREQ_VERY_HIGH;
  GPIO_InitStruct.Alternate = GPIO_AF4_I2C1;
  HAL_GPIO_Init(GPIOB, &GPIO_InitStruct);

  /* EXTI interrupt init*/
  HAL_NVIC_SetPriority(EXTI9_5_IRQn, 5, 0);
  HAL_NVIC_EnableIRQ(EXTI9_5_IRQn);

  HAL_NVIC_SetPriority(EXTI15_10_IRQn, 5, 0);
  HAL_NVIC_EnableIRQ(EXTI15_10_IRQn);

}

void Thread1Func(void const * argument)
{
  /* USER CODE BEGIN 5 */
	volatile unsigned long ul;

	/* definition and creation of Thread2 */
  osThreadDef(Thread2, Thread2Func, osPriorityNormal, 0, 128);
  Thread2Handle = osThreadCreate(osThread(Thread2), NULL);

  /* Infinite loop */
  for(;;)
  {
    printf("\n\rThread1 is running\n\r");

		for(ul = 0; ul < mainDELAY_LOOP_COUNT; ul++)
		{

		}
  }
  /* USER CODE END 5 */
}

void Thread2Func(void const * argument)
{
  /* USER CODE BEGIN Thread2Func */
	volatile unsigned long ul;

  /* Infinite loop */
  for(;;)
  {
    printf("\n\rThread2 is running\n\r");

		for(ul = 0; ul < mainDELAY_LOOP_COUNT; ul++)
		{

		}
  }
  /* USER CODE END Thread2Func */
}

void Error_Handler(void)
{
}

/************************ (C) COPYRIGHT STMicroelectronics *****END OF FILE****/
